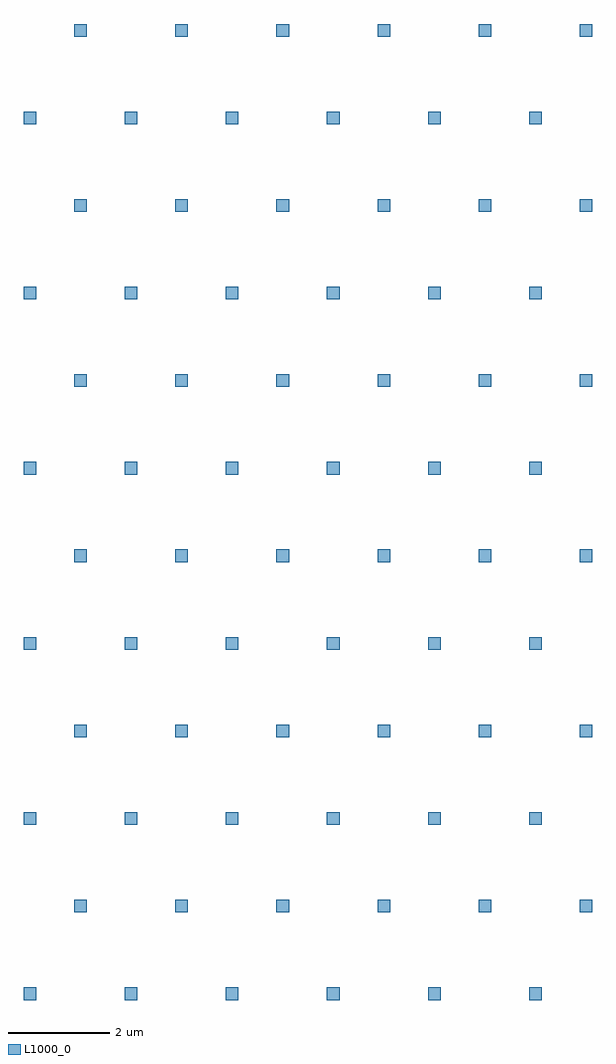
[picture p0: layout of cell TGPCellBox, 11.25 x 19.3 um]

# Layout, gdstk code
import gdstk
lib = gdstk.Library(unit=1e-6, precision=1e-09)
def R(c, l, rs):  # rectangles x0, y0, x1, y1
    for r in rs: c.add(gdstk.rectangle(r[:2], r[2:], *l))
def A(c, l, x, y, w, h, nx, ny, dx, dy):  # array of equal rectangles
    R(c, l, [(x+i*dx, y+j*dy, x+i*dx+w, y+j*dy+h) for i in range(nx) for j in range(ny)])
L1000_0 = (1000, 0)

tgpcellbox = lib.new_cell('TGPCellBox')
A(tgpcellbox, L1000_0, 0, 0, 0.25, 0.25, 6, 5, 2, 3.464)
A(tgpcellbox, L1000_0, 1, 1.732, 0.25, 0.25, 6, 5, 2, 3.464)
A(tgpcellbox, L1000_0, 0, 17.321, 0.25, 0.25, 6, 1, 2, 0)
A(tgpcellbox, L1000_0, 1, 19.053, 0.25, 0.25, 6, 1, 2, 0)

lib.write_gds('TGPCellBox.gds')
